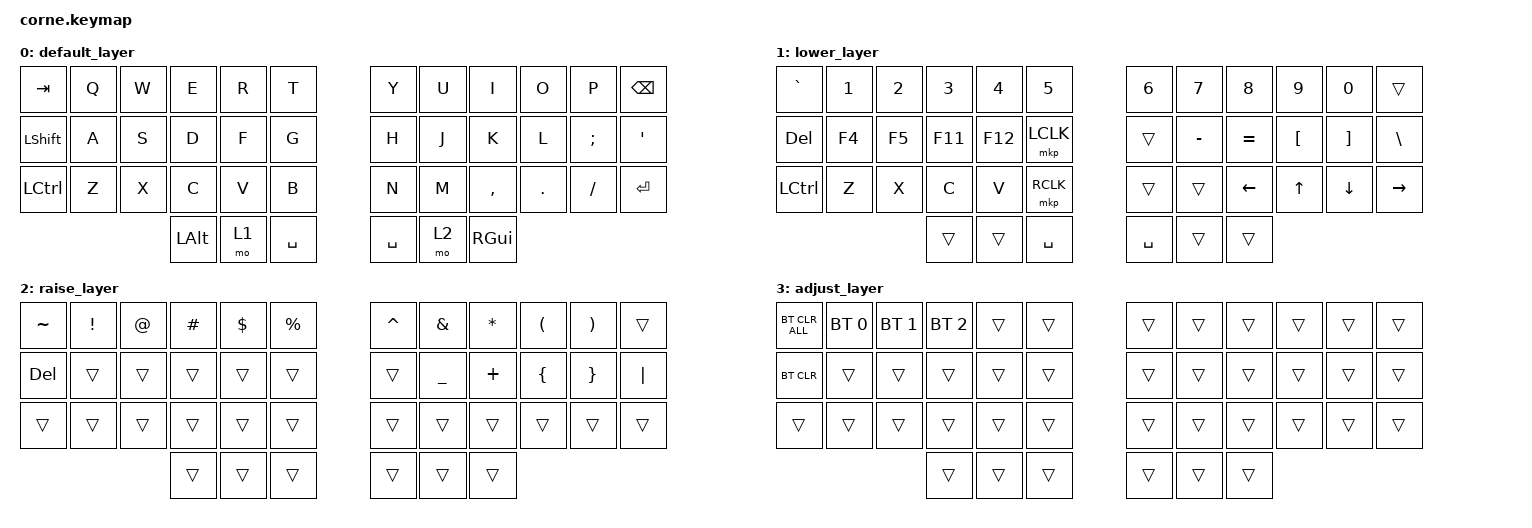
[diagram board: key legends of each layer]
/*
 * Copyright (c) 2020 The ZMK Contributors
 *
 * SPDX-License-Identifier: MIT
 */

#include <behaviors.dtsi>
#include <dt-bindings/zmk/bt.h>
#include <dt-bindings/zmk/keys.h>
#include <dt-bindings/zmk/mouse.h>

/ {
    combos {
        compatible = "zmk,combos";

        Escape {
            bindings = <&kp ESC>;
            key-positions = <0 1>;
        };
    };

    keymap {
        compatible = "zmk,keymap";

        default_layer {
            // -----------------------------------------------------------------------------------------
            // |  TAB |  Q  |  W  |  E  |  R  |  T  |   |  Y  |  U   |  I  |  O  |  P  | BKSP |
            // | CTRL |  A  |  S  |  D  |  F  |  G  |   |  H  |  J   |  K  |  L  |  ;  |  '   |
            // | SHFT |  Z  |  X  |  C  |  V  |  B  |   |  N  |  M   |  ,  |  .  |  /  | ESC  |
            //                    | GUI | LWR | SPC |   | ENT | RSE  | ALT |

            bindings = <
&kp TAB         &kp Q  &kp W  &kp E         &kp R  &kp T        &kp Y      &kp U  &kp I          &kp O    &kp P     &kp BSPC
&kp LEFT_SHIFT  &kp A  &kp S  &kp D         &kp F  &kp G        &kp H      &kp J  &kp K          &kp L    &kp SEMI  &kp SQT
&kp LCTRL       &kp Z  &kp X  &kp C         &kp V  &kp B        &kp N      &kp M  &kp COMMA      &kp DOT  &kp FSLH  &kp ENTER
                              &kp LEFT_ALT  &mo 1  &kp SPACE    &kp SPACE  &mo 2  &kp RIGHT_GUI
            >;
        };

        lower_layer {
            // -----------------------------------------------------------------------------------------
            // |  TAB |  !  |  @  |  #  |  $  |  %  |   |  ^  |  &  |  *  |  (  |  )  | BKSP |
            // | CTRL |     |     |     |     |     |   |  -  |  =  |  [  |  ]  |  \  |  `   |
            // | SHFT |     |     |     |     |     |   |  _  |  +  |  {  |  }  | "|" |  ~   |
            //                    | GUI |     | SPC |   | ENT |     | ALT |

            bindings = <
&kp GRAVE  &kp NUMBER_1  &kp NUMBER_2  &kp NUMBER_3  &kp NUMBER_4  &kp NUMBER_5    &kp NUMBER_6  &kp NUMBER_7  &kp NUMBER_8  &kp NUMBER_9      &kp NUMBER_0       &trans
&kp DEL    &kp F4        &kp F5        &kp F11       &kp F12       &mkp LCLK       &trans        &kp MINUS     &kp EQUAL     &kp LEFT_BRACKET  &kp RIGHT_BRACKET  &kp BACKSLASH
&kp LCTRL  &kp Z         &kp X         &kp C         &kp V         &mkp RCLK       &trans        &trans        &kp LEFT      &kp UP            &kp DOWN           &kp RIGHT
                                       &trans        &trans        &kp SPACE       &kp SPACE     &trans        &trans
            >;
        };

        raise_layer {
            // -----------------------------------------------------------------------------------------
            // |  TAB |  1  |  2  |  3  |  4  |  5  |   |  6  |  7  |  8  |  9  |  0  | BKSP |
            // | BTCLR| BT1 | BT2 | BT3 | BT4 | BT5 |   | LFT | DWN |  UP | RGT |     |      |
            // | SHFT |     |     |     |     |     |   |     |     |     |     |     |      |
            //                    | GUI |     | SPC |   | ENT |     | ALT |

            bindings = <
&kp TILDE  &kp EXCLAMATION  &kp AT_SIGN  &kp HASH  &kp DOLLAR  &kp PERCENT    &kp CARET  &kp AMPERSAND   &kp ASTERISK  &kp LEFT_PARENTHESIS  &kp RIGHT_PARENTHESIS  &trans
&kp DEL    &trans           &trans       &trans    &trans      &trans         &trans     &kp UNDERSCORE  &kp PLUS      &kp LEFT_BRACE        &kp RIGHT_BRACE        &kp PIPE
&trans     &trans           &trans       &trans    &trans      &trans         &trans     &trans          &trans        &trans                &trans                 &trans
                                         &trans    &trans      &trans         &trans     &trans          &trans
            >;
        };

        adjust_layer {
            bindings = <
&bt BT_CLR_ALL  &bt BT_SEL 0  &bt BT_SEL 1  &bt BT_SEL 2  &trans  &trans    &trans  &trans  &trans  &trans  &trans  &trans
&bt BT_CLR      &trans        &trans        &trans        &trans  &trans    &trans  &trans  &trans  &trans  &trans  &trans
&trans          &trans        &trans        &trans        &trans  &trans    &trans  &trans  &trans  &trans  &trans  &trans
                                            &trans        &trans  &trans    &trans  &trans  &trans
            >;
        };
    };

    conditional_layers {
        compatible = "zmk,conditional-layers";

        tri_layer {
            if-layers = <1 2>;
            then-layer = <3>;
        };
    };
};
